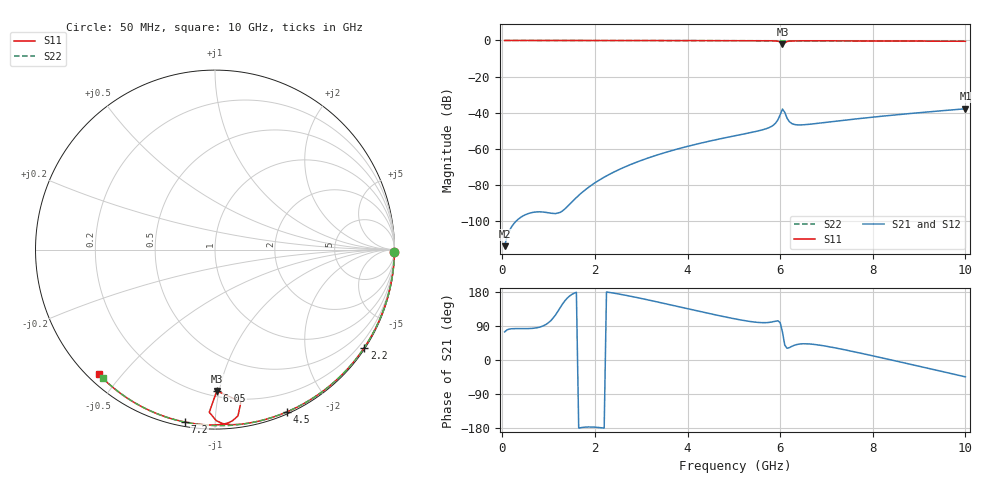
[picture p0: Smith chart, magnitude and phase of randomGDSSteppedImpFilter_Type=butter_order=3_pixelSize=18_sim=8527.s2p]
! freq	dB(S11)	phase(S11)	dB(S12)	phase(S12)
!  dB(S21)	phase(S21)	dB(S22)	phase(S22)
!S-par simulation data
#  GHz  S  DB  R 50
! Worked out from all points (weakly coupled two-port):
!   200 points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, 50 MHz to 10 GHz, reference 50 ohm
!   highest |S21| = -37.83 dB at 10 GHz (marker M1); lowest = -113.9 dB at 50 MHz (marker M2)
!   lowest |S11| = -2.1 dB at 6.05 GHz (marker M3), VSWR 8.42, Z = 11.9 - j49.2 ohm
!   |S11| at or under -10 dB: nowhere
!   |S22| runs from -0.4 to 0.0 dB; largest |S21 - S12| = 0
!   S11 on the Smith chart (normalised r, x): 50 MHz: open; 2.2 GHz: 0.03, -3.34; 4.5 GHz: 0.02, -1.54; 6.05 GHz: 0.24, -0.98; 7.2 GHz: 0.02, -0.84; 10 GHz: 0.03, -0.43
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0.05  -0.00 -0.8  -113.86 74.0  -113.86 74.0  -0.00 -0.8
1.75  -0.03 -26.6  -83.53 -177.5  -83.53 -177.5  -0.03 -26.1
1.95  -0.04 -29.6  -79.67 -176.9  -79.67 -176.9  -0.04 -29.0
2.2  -0.04 -33.3  -75.68 -179.7  -75.68 -179.7  -0.04 -32.7
2.75  -0.05 -41.4  -68.89 168.7  -68.89 168.7  -0.05 -40.6
3.4  -0.07 -50.7  -62.94 151.9  -62.94 151.9  -0.07 -49.7
4.5  -0.10 -66.1  -55.58 121.8  -55.58 121.8  -0.09 -64.7
5.05  -0.11 -73.7  -52.62 107.9  -52.62 107.9  -0.11 -71.9
5.55  -0.14 -80.8  -49.92 98.9  -49.92 98.9  -0.13 -78.4
5.8  -0.19 -85.2  -47.75 99.9  -47.75 99.9  -0.14 -81.6
5.9  -0.28 -87.7  -45.80 102.8  -45.80 102.8  -0.14 -82.8
5.95  -0.42 -89.6  -44.01 103.6  -44.01 103.6  -0.15 -83.5
6  -0.85 -92.0  -41.13 98.9  -41.13 98.9  -0.15 -84.1
6.05  -2.07 -89.3  -37.98 73.6  -37.98 73.6  -0.15 -84.7
6.1  -1.31 -80.3  -39.82 39.2  -39.82 39.2  -0.15 -85.3
6.15  -0.58 -82.1  -43.08 30.9  -43.08 30.9  -0.15 -85.9
6.25  -0.28 -85.7  -45.98 35.8  -45.98 35.8  -0.16 -87.2
6.4  -0.21 -88.8  -46.76 41.8  -46.76 41.8  -0.16 -89.0
6.7  -0.20 -93.3  -46.21 41.6  -46.21 41.6  -0.18 -92.7
7.2  -0.22 -99.8  -44.71 31.7  -44.71 31.7  -0.21 -98.8
8.35  -0.30 -113.8  -41.55 1.5  -41.55 1.5  -0.29 -112.3
10  -0.45 -133.1  -37.83 -44.5  -37.83 -44.5  -0.44 -131.0
